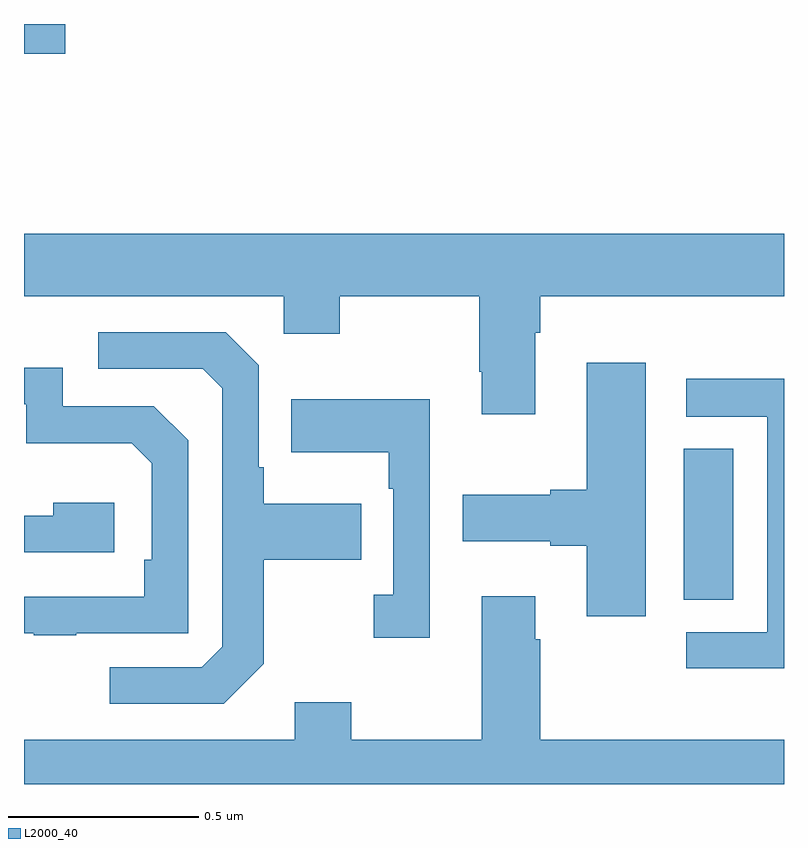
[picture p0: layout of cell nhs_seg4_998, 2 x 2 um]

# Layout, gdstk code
import gdstk
lib = gdstk.Library(unit=1e-6, precision=1e-09)
def R(c, l, rs):  # rectangles x0, y0, x1, y1
    for r in rs: c.add(gdstk.rectangle(r[:2], r[2:], *l))
def P(c, l, *ps):  # polygons
    for p in ps: c.add(gdstk.Polygon(p, *l))
L2000_40 = (2000, 40)

nhs_seg4_998 = lib.new_cell('nhs_seg4_998')
R(nhs_seg4_998, L2000_40, [(124.736,765.385,124.867,765.782), (123,766.822,123.109,766.9)])
P(nhs_seg4_998, L2000_40, [(124.345,766.088),(124.358,766.088),(124.358,766.184),(125,766.184),(125,766.348),(123,766.348),(123,766.184),(123.684,766.184),(123.684,766.085),(123.831,766.085),(123.831,766.184),(124.198,766.184),(124.198,765.985),(124.205,765.985),(124.205,765.873),(124.345,765.873)],
  [(123.631,765.217),(123.631,765.49),(123.887,765.49),(123.887,765.637),(123.631,765.637),(123.631,765.733),(123.618,765.733),(123.618,766.002),(123.531,766.089),(123.195,766.089),(123.195,765.993),(123.471,765.993),(123.522,765.942),(123.522,765.261),(123.468,765.207),(123.225,765.207),(123.225,765.111),(123.525,765.111)],
  [(124.636,766.009),(124.481,766.009),(124.481,765.674),(124.385,765.674),(124.385,765.661),(124.155,765.661),(124.155,765.539),(124.385,765.539),(124.385,765.527),(124.481,765.527),(124.481,765.342),(124.636,765.342)],
  [(123.137,765.297),(123.432,765.297),(123.432,765.804),(123.342,765.894),(123.102,765.894),(123.102,765.996),(123,765.996),(123,765.9),(123.006,765.9),(123.006,765.797),(123.283,765.797),(123.336,765.744),(123.336,765.49),(123.316,765.49),(123.316,765.393),(123,765.393),(123,765.297),(123.025,765.297),(123.025,765.292),(123.137,765.292)],
  [(125,765.966),(124.743,765.966),(124.743,765.867),(124.956,765.867),(124.956,765.3),(124.743,765.3),(124.743,765.204),(125,765.204)],
  [(124.068,765.913),(123.703,765.913),(123.703,765.773),(123.96,765.773),(123.96,765.677),(123.972,765.677),(123.972,765.398),(123.921,765.398),(123.921,765.285),(124.068,765.285)],
  [(123.238,765.64),(123.077,765.64),(123.077,765.606),(123,765.606),(123,765.51),(123.238,765.51)],
  [(125,765.016),(124.358,765.016),(124.358,765.281),(124.345,765.281),(124.345,765.394),(124.205,765.394),(124.205,765.016),(123.861,765.016),(123.861,765.115),(123.713,765.115),(123.713,765.016),(123,765.016),(123,764.9),(125,764.9)])

lib.write_gds('nhs_seg4_998.gds')
